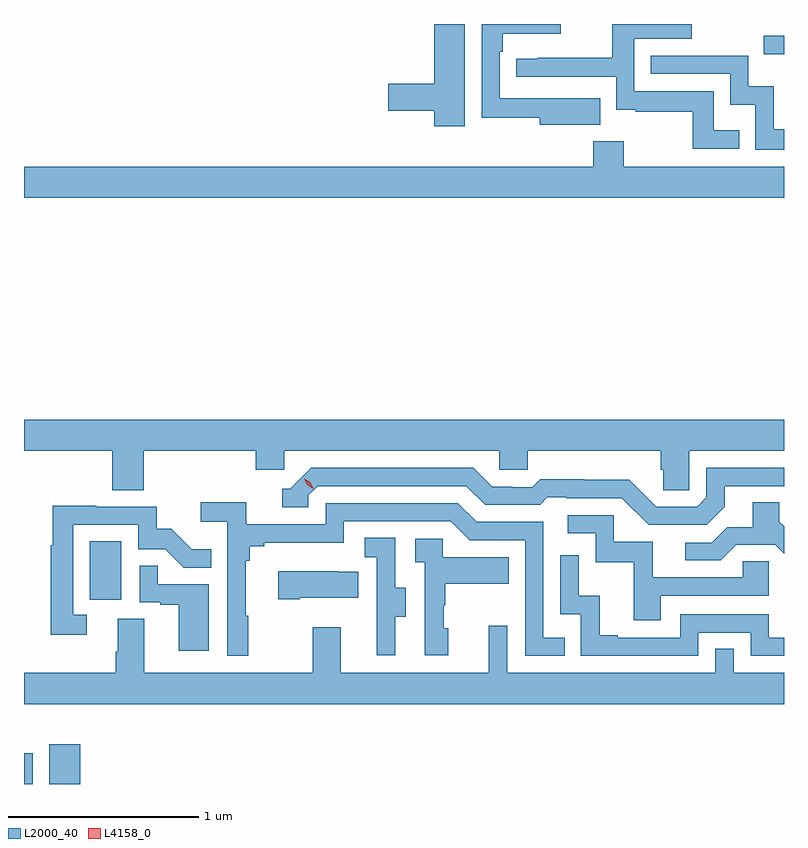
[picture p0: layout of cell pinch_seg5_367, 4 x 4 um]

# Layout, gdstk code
import gdstk
lib = gdstk.Library(unit=1e-6, precision=1e-09)
def R(c, l, rs):  # rectangles x0, y0, x1, y1
    for r in rs: c.add(gdstk.rectangle(r[:2], r[2:], *l))
def P(c, l, *ps):  # polygons
    for p in ps: c.add(gdstk.Polygon(p, *l))
L2000_40 = (2000, 40)
L4158_0 = (4158, 0)

pinch_seg5_367 = lib.new_cell('pinch_seg5_367')
R(pinch_seg5_367, L2000_40, [(993.477,882.979,993.522,883.142), (993.611,882.979,993.772,883.189), (993.824,883.95,993.988,884.257), (997.371,886.82,997.477,886.917)])
P(pinch_seg5_367, L2000_40, [(996.509,886.588),(996.295,886.588),(996.295,886.587),(995.982,886.587),(995.982,886.832),(995.996,886.832),(995.996,886.928),(996.301,886.928),(996.301,886.979),(995.886,886.979),(995.886,886.486),(996.191,886.486),(996.191,886.448),(996.509,886.448)],
  [(995.797,886.979),(995.636,886.979),(995.636,886.664),(995.394,886.664),(995.394,886.522),(995.636,886.522),(995.636,886.44),(995.797,886.44)],
  [(997.241,886.42),(997.107,886.42),(997.107,886.626),(996.69,886.626),(996.69,886.902),(996.991,886.902),(996.991,886.979),(996.574,886.979),(996.574,886.802),(996.181,886.802),(996.181,886.797),(996.069,886.797),(996.069,886.701),(996.594,886.701),(996.594,886.529),(996.697,886.529),(996.697,886.518),(996.996,886.518),(996.996,886.323),(997.241,886.323)],
  [(997.477,886.426),(997.423,886.426),(997.423,886.651),(997.29,886.651),(997.29,886.812),(996.775,886.812),(996.775,886.716),(997.194,886.716),(997.194,886.553),(997.326,886.553),(997.326,886.317),(997.477,886.317)],
  [(997.477,886.228),(996.633,886.228),(996.633,886.363),(996.473,886.363),(996.473,886.228),(993.477,886.228),(993.477,886.064),(997.477,886.064)],
  [(994.106,884.732),(994.697,884.732),(994.697,884.634),(994.848,884.634),(994.848,884.732),(995.979,884.732),(995.979,884.634),(996.129,884.634),(996.129,884.732),(996.827,884.732),(996.827,884.634),(996.841,884.634),(996.841,884.524),(996.978,884.524),(996.978,884.732),(997.477,884.732),(997.477,884.896),(993.477,884.896),(993.477,884.732),(993.941,884.732),(993.941,884.524),(994.106,884.524)],
  [(997.165,884.437),(997.165,884.547),(997.477,884.547),(997.477,884.643),(997.068,884.643),(997.068,884.487),(997.02,884.439),(996.804,884.439),(996.662,884.581),(996.426,884.581),(996.426,884.584),(996.193,884.584),(996.151,884.541),(996.048,884.541),(996.048,884.544),(995.941,884.544),(995.842,884.643),(994.989,884.643),(994.878,884.532),(994.835,884.532),(994.835,884.436),(994.974,884.436),(994.974,884.499),(995.022,884.547),(995.805,884.547),(995.904,884.448),(996.193,884.448),(996.232,884.487),(996.331,884.487),(996.331,884.484),(996.624,884.484),(996.765,884.343),(997.071,884.343)],
  [(997.225,884.238),(997.431,884.238),(997.477,884.192),(997.477,884.336),(997.453,884.36),(997.453,884.462),(997.313,884.462),(997.313,884.33),(997.178,884.33),(997.098,884.25),(996.957,884.25),(996.957,884.157),(997.144,884.157)],
  [(994.657,883.865),(994.645,883.865),(994.645,884.153),(994.664,884.153),(994.664,884.23),(994.741,884.23),(994.741,884.249),(995.16,884.249),(995.16,884.361),(995.724,884.361),(995.823,884.262),(996.114,884.262),(996.114,883.653),(996.323,883.653),(996.323,883.749),(996.21,883.749),(996.21,884.358),(995.86,884.358),(995.761,884.457),(995.064,884.457),(995.064,884.346),(994.646,884.346),(994.646,884.462),(994.407,884.462),(994.407,884.36),(994.548,884.36),(994.548,883.653),(994.657,883.653)],
  [(993.808,883.869),(993.735,883.869),(993.735,884.343),(994.077,884.343),(994.077,884.214),(994.221,884.214),(994.319,884.116),(994.463,884.116),(994.463,884.215),(994.359,884.215),(994.252,884.322),(994.176,884.322),(994.176,884.439),(993.857,884.439),(993.857,884.444),(993.627,884.444),(993.627,884.236),(993.619,884.236),(993.619,883.764),(993.808,883.764)],
  [(996.829,883.971),(997.398,883.971),(997.398,884.151),(997.261,884.151),(997.261,884.067),(996.787,884.067),(996.787,884.253),(996.582,884.253),(996.582,884.394),(996.339,884.394),(996.339,884.298),(996.486,884.298),(996.486,884.145),(996.685,884.145),(996.685,883.842),(996.829,883.842)],
  [(995.431,883.858),(995.485,883.858),(995.485,884.013),(995.43,884.013),(995.43,884.276),(995.271,884.276),(995.271,884.173),(995.334,884.173),(995.334,883.869),(995.333,883.869),(995.333,883.656),(995.431,883.656)],
  [(995.71,883.8),(995.685,883.8),(995.685,883.919),(995.695,883.919),(995.695,884.033),(996.029,884.033),(996.029,884.173),(995.682,884.173),(995.682,884.271),(995.535,884.271),(995.535,884.147),(995.586,884.147),(995.586,883.656),(995.71,883.656)],
  [(997.026,883.776),(997.302,883.776),(997.302,883.653),(997.477,883.653),(997.477,883.749),(997.398,883.749),(997.398,883.872),(996.93,883.872),(996.93,883.749),(996.601,883.749),(996.601,883.762),(996.506,883.762),(996.506,883.97),(996.396,883.97),(996.396,884.182),(996.3,884.182),(996.3,883.872),(996.408,883.872),(996.408,883.653),(997.026,883.653)],
  [(994.45,884.031),(994.181,884.031),(994.181,884.129),(994.086,884.129),(994.086,883.935),(994.193,883.935),(994.193,883.923),(994.292,883.923),(994.292,883.68),(994.45,883.68)],
  [(994.927,883.958),(995.237,883.958),(995.237,884.095),(995.129,884.095),(995.129,884.098),(994.815,884.098),(994.815,883.951),(994.927,883.951)],
  [(997.477,883.564),(997.212,883.564),(997.212,883.691),(997.116,883.691),(997.116,883.564),(996.021,883.564),(996.021,883.813),(995.924,883.813),(995.924,883.564),(995.143,883.564),(995.143,883.804),(994.996,883.804),(994.996,883.564),(994.111,883.564),(994.111,883.85),(993.971,883.85),(993.971,883.676),(993.959,883.676),(993.959,883.564),(993.477,883.564),(993.477,883.4),(997.477,883.4)])
P(pinch_seg5_367, L4158_0, [(994.999,884.534),(994.968,884.553),(994.952,884.586),(994.952,884.586),(994.952,884.586),(994.983,884.567),(994.999,884.535),(994.999,884.534)])

lib.write_gds('pinch_seg5_367.gds')
